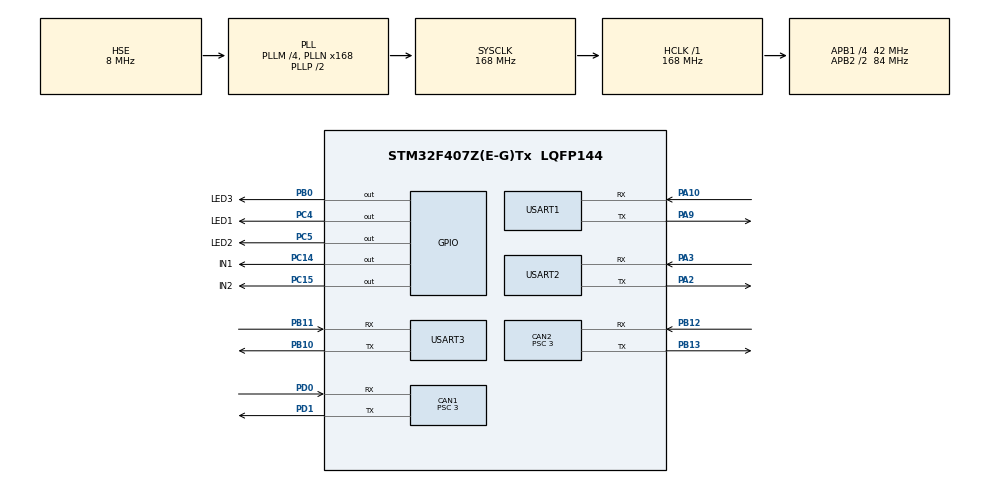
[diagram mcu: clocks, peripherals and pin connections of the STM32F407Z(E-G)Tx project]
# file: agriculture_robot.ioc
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CAN1.ABOM=ENABLE
CAN1.BS1=CAN_BS1_9TQ
CAN1.BS2=CAN_BS2_4TQ
CAN1.CalculateBaudRate=1000000
CAN1.CalculateTimeBit=1000
CAN1.CalculateTimeQuantum=71.42857142857143
CAN1.Prescaler=3
CAN1.TXFP=ENABLE
CAN2.ABOM=ENABLE
CAN2.BS1=CAN_BS1_9TQ
CAN2.BS2=CAN_BS2_4TQ
CAN2.CalculateBaudRate=1000000
CAN2.CalculateTimeBit=1000
CAN2.CalculateTimeQuantum=71.42857142857143
CAN2.Prescaler=3
CAN2.TXFP=ENABLE
Dma.Request0=USART1_RX
Dma.Request1=USART1_TX
Dma.Request2=USART3_RX
Dma.Request3=USART3_TX
Dma.Request4=USART2_RX
Dma.Request5=USART2_TX
Dma.USART1_RX.0.Direction=DMA_PERIPH_TO_MEMORY
Dma.USART1_RX.0.FIFOMode=DMA_FIFOMODE_DISABLE
Dma.USART1_RX.0.Instance=DMA2_Stream2
Dma.USART1_RX.0.MemDataAlignment=DMA_MDATAALIGN_BYTE
Dma.USART1_RX.0.MemInc=DMA_MINC_ENABLE
Dma.USART1_RX.0.Mode=DMA_CIRCULAR
Dma.USART1_RX.0.PeriphDataAlignment=DMA_PDATAALIGN_BYTE
Dma.USART1_RX.0.PeriphInc=DMA_PINC_DISABLE
Dma.USART1_RX.0.Priority=DMA_PRIORITY_LOW
Dma.USART1_TX.1.Direction=DMA_MEMORY_TO_PERIPH
Dma.USART1_TX.1.FIFOMode=DMA_FIFOMODE_DISABLE
Dma.USART1_TX.1.Instance=DMA2_Stream7
Dma.USART1_TX.1.MemDataAlignment=DMA_MDATAALIGN_BYTE
Dma.USART1_TX.1.MemInc=DMA_MINC_ENABLE
Dma.USART1_TX.1.Mode=DMA_NORMAL
Dma.USART1_TX.1.PeriphDataAlignment=DMA_PDATAALIGN_BYTE
Dma.USART1_TX.1.PeriphInc=DMA_PINC_DISABLE
Dma.USART1_TX.1.Priority=DMA_PRIORITY_LOW
Dma.USART2_RX.4.Direction=DMA_PERIPH_TO_MEMORY
Dma.USART2_RX.4.FIFOMode=DMA_FIFOMODE_DISABLE
Dma.USART2_RX.4.Instance=DMA1_Stream5
Dma.USART2_RX.4.MemDataAlignment=DMA_MDATAALIGN_BYTE
Dma.USART2_RX.4.MemInc=DMA_MINC_ENABLE
Dma.USART2_RX.4.Mode=DMA_CIRCULAR
Dma.USART2_RX.4.PeriphDataAlignment=DMA_PDATAALIGN_BYTE
Dma.USART2_RX.4.PeriphInc=DMA_PINC_DISABLE
Dma.USART2_RX.4.Priority=DMA_PRIORITY_LOW
Dma.USART2_TX.5.Direction=DMA_MEMORY_TO_PERIPH
Dma.USART2_TX.5.FIFOMode=DMA_FIFOMODE_DISABLE
Dma.USART2_TX.5.Instance=DMA1_Stream6
Dma.USART2_TX.5.MemDataAlignment=DMA_MDATAALIGN_BYTE
Dma.USART2_TX.5.MemInc=DMA_MINC_ENABLE
Dma.USART2_TX.5.Mode=DMA_NORMAL
Dma.USART2_TX.5.PeriphDataAlignment=DMA_PDATAALIGN_BYTE
Dma.USART2_TX.5.PeriphInc=DMA_PINC_DISABLE
Dma.USART2_TX.5.Priority=DMA_PRIORITY_LOW
Dma.USART3_RX.2.Direction=DMA_PERIPH_TO_MEMORY
Dma.USART3_RX.2.FIFOMode=DMA_FIFOMODE_DISABLE
Dma.USART3_RX.2.Instance=DMA1_Stream1
Dma.USART3_RX.2.MemDataAlignment=DMA_MDATAALIGN_BYTE
Dma.USART3_RX.2.MemInc=DMA_MINC_ENABLE
Dma.USART3_RX.2.Mode=DMA_CIRCULAR
Dma.USART3_RX.2.PeriphDataAlignment=DMA_PDATAALIGN_BYTE
Dma.USART3_RX.2.PeriphInc=DMA_PINC_DISABLE
Dma.USART3_RX.2.Priority=DMA_PRIORITY_LOW
Dma.USART3_TX.3.Direction=DMA_MEMORY_TO_PERIPH
Dma.USART3_TX.3.FIFOMode=DMA_FIFOMODE_DISABLE
Dma.USART3_TX.3.Instance=DMA1_Stream3
Dma.USART3_TX.3.MemDataAlignment=DMA_MDATAALIGN_BYTE
Dma.USART3_TX.3.MemInc=DMA_MINC_ENABLE
Dma.USART3_TX.3.Mode=DMA_NORMAL
Dma.USART3_TX.3.PeriphDataAlignment=DMA_PDATAALIGN_BYTE
Dma.USART3_TX.3.PeriphInc=DMA_PINC_DISABLE
Dma.USART3_TX.3.Priority=DMA_PRIORITY_LOW
FREERTOS.CountingSemaphores01=WaterSema,3,Dynamic,NULL
FREERTOS.Tasks01=defaultTask,24,128,StartDefaultTask,Default,NULL,Dynamic,NULL,NULL;chassisControl,24,128,StartChassisControl,Default,NULL,Dynamic,NULL,NULL;balanceMotorTas,8,128,StartBalance,Default,NULL,Dynamic,NULL,NULL;waterVase,8,128,StartWaterVase,Default,NULL,Dynamic,NULL,NULL
FREERTOS.configUSE_NEWLIB_REENTRANT=1
FREERTOS.configUSE_STATS_FORMATTING_FUNCTIONS=1
Mcu.Family=STM32F4
Mcu.Name=STM32F407Z(E-G)Tx
Mcu.Package=LQFP144
NVIC.CAN1_RX0_IRQn=true\:5\:0\:false\:false\:true\:true\:true\:true\:true
NVIC.CAN1_RX1_IRQn=true\:5\:0\:false\:false\:true\:true\:true\:true\:true
NVIC.CAN1_TX_IRQn=true\:5\:0\:false\:false\:true\:true\:true\:true\:true
NVIC.CAN2_RX0_IRQn=true\:5\:0\:false\:false\:true\:true\:true\:true\:true
NVIC.CAN2_RX1_IRQn=true\:5\:0\:false\:false\:true\:true\:true\:true\:true
NVIC.CAN2_TX_IRQn=true\:5\:0\:false\:false\:true\:true\:true\:true\:true
NVIC.DMA1_Stream1_IRQn=true\:5\:0\:false\:false\:true\:true\:false\:true\:true
NVIC.DMA1_Stream3_IRQn=true\:5\:0\:false\:false\:true\:true\:false\:true\:true
NVIC.DMA1_Stream5_IRQn=true\:5\:0\:false\:false\:true\:true\:false\:true\:true
NVIC.DMA1_Stream6_IRQn=true\:5\:0\:false\:false\:true\:true\:false\:true\:true
NVIC.DMA2_Stream2_IRQn=true\:5\:0\:false\:false\:true\:true\:false\:true\:true
NVIC.DMA2_Stream7_IRQn=true\:5\:0\:false\:false\:true\:true\:false\:true\:true
NVIC.PriorityGroup=NVIC_PRIORITYGROUP_4
NVIC.TIM1_UP_TIM10_IRQn=true\:15\:0\:false\:false\:true\:false\:false\:true\:true
NVIC.TimeBase=TIM1_UP_TIM10_IRQn
NVIC.TimeBaseIP=TIM1
NVIC.USART1_IRQn=true\:5\:0\:false\:false\:true\:true\:true\:true\:true
NVIC.USART2_IRQn=true\:5\:0\:false\:false\:true\:true\:true\:true\:true
NVIC.USART3_IRQn=true\:5\:0\:false\:false\:true\:true\:true\:true\:true
PA10.Mode=Asynchronous
PA10.Signal=USART1_RX
PA13.Mode=Serial_Wire
PA13.Signal=SYS_JTMS-SWDIO
PA14.Mode=Serial_Wire
PA14.Signal=SYS_JTCK-SWCLK
PA2.Mode=Asynchronous
PA2.Signal=USART2_TX
PA3.Mode=Asynchronous
PA3.Signal=USART2_RX
PA9.Mode=Asynchronous
PA9.Signal=USART1_TX
PB0.GPIO_Label=LED3
PB0.Signal=GPIO_Output
PB10.Mode=Asynchronous
PB10.Signal=USART3_TX
PB11.Mode=Asynchronous
PB11.Signal=USART3_RX
PB12.Mode=CAN_Activate
PB12.Signal=CAN2_RX
PB13.Mode=CAN_Activate
PB13.Signal=CAN2_TX
PC14-OSC32_IN.GPIO_Label=IN1
PC14-OSC32_IN.Signal=GPIO_Output
PC15-OSC32_OUT.GPIO_Label=IN2
PC15-OSC32_OUT.Signal=GPIO_Output
PC4.GPIO_Label=LED1
PC4.Signal=GPIO_Output
PC5.GPIO_Label=LED2
PC5.Signal=GPIO_Output
PD0.Mode=CAN_Activate
PD0.Signal=CAN1_RX
PD1.Mode=CAN_Activate
PD1.Signal=CAN1_TX
PH0-OSC_IN.Mode=HSE-External-Oscillator
PH0-OSC_IN.Signal=RCC_OSC_IN
PH1-OSC_OUT.Mode=HSE-External-Oscillator
PH1-OSC_OUT.Signal=RCC_OSC_OUT
ProjectManager.HeapSize=0x200
ProjectManager.StackSize=0x400
ProjectManager.TargetToolchain=STM32CubeIDE
RCC.48MHZClocksFreq_Value=84000000
RCC.AHBFreq_Value=168000000
RCC.APB1CLKDivider=RCC_HCLK_DIV4
RCC.APB1Freq_Value=42000000
RCC.APB1TimFreq_Value=84000000
RCC.APB2CLKDivider=RCC_HCLK_DIV2
RCC.APB2Freq_Value=84000000
RCC.APB2TimFreq_Value=168000000
RCC.CortexFreq_Value=168000000
RCC.HCLKFreq_Value=168000000
RCC.HSE_VALUE=8000000
RCC.HSI_VALUE=16000000
RCC.LSE_VALUE=32768
RCC.PLLM=4
RCC.PLLN=168
RCC.PLLSourceVirtual=RCC_PLLSOURCE_HSE
RCC.SYSCLKFreq_VALUE=168000000
RCC.SYSCLKSource=RCC_SYSCLKSOURCE_PLLCLK
RCC.VCOOutputFreq_Value=336000000
USART1.VirtualMode=VM_ASYNC
USART2.VirtualMode=VM_ASYNC
USART3.VirtualMode=VM_ASYNC
VP_FREERTOS_VS_CMSIS_V2.Mode=CMSIS_V2
VP_SYS_VS_tim1.Mode=TIM1
board=custom

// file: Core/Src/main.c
/* USER CODE BEGIN Header */
/**
  ******************************************************************************
  * @file           : main.c
  * @brief          : Main program body
  ******************************************************************************
  * @attention
  *
  * Copyright (c) 2023 STMicroelectronics.
  * All rights reserved.
  *
  * This software is licensed under terms that can be found in the LICENSE file
  * in the root directory of this software component.
  * If no LICENSE file comes with this software, it is provided AS-IS.
  *
  ******************************************************************************
  */
#ifdef __cplusplus
extern "C"{
#endif
/* USER CODE END Header */
#include "main.h"
#include "cmsis_os.h"
#include "can.h"
#include "dma.h"
#include "usart.h"
#include "gpio.h"

/* USER CODE BEGIN Includes */
#ifdef __cplusplus
}
#endif

/* USER CODE END Includes */

/* USER CODE BEGIN PV */
#ifdef __cplusplus
extern "C"{
#endif
/* USER CODE END PV */

void SystemClock_Config(void);
void MX_FREERTOS_Init(void);
/* USER CODE BEGIN PFP */
#ifdef __cplusplus
}
#endif
/* USER CODE END PFP */

int main(void)
{

  /* MCU Configuration--------------------------------------------------------*/

  /* Reset of all peripherals, Initializes the Flash interface and the Systick. */
  HAL_Init();

  /* Configure the system clock */
  SystemClock_Config();

  /* Initialize all configured peripherals */
  MX_GPIO_Init();
  MX_DMA_Init();
  MX_USART1_UART_Init();
  MX_CAN1_Init();
  MX_USART3_UART_Init();
  MX_USART2_UART_Init();
  MX_CAN2_Init();

  /* Init scheduler */
  osKernelInitialize();  /* Call init function for freertos objects (in freertos.c) */
  MX_FREERTOS_Init();

  /* Start scheduler */
  osKernelStart();
  /* We should never get here as control is now taken by the scheduler */
  /* Infinite loop */
  while (1)
  {

  }
}

void SystemClock_Config(void)
{
  RCC_OscInitTypeDef RCC_OscInitStruct = {0};
  RCC_ClkInitTypeDef RCC_ClkInitStruct = {0};

  /** Configure the main internal regulator output voltage
  */
  __HAL_RCC_PWR_CLK_ENABLE();
  __HAL_PWR_VOLTAGESCALING_CONFIG(PWR_REGULATOR_VOLTAGE_SCALE1);

  /** Initializes the RCC Oscillators according to the specified parameters
  * in the RCC_OscInitTypeDef structure.
  */
  RCC_OscInitStruct.OscillatorType = RCC_OSCILLATORTYPE_HSE;
  RCC_OscInitStruct.HSEState = RCC_HSE_ON;
  RCC_OscInitStruct.PLL.PLLState = RCC_PLL_ON;
  RCC_OscInitStruct.PLL.PLLSource = RCC_PLLSOURCE_HSE;
  RCC_OscInitStruct.PLL.PLLM = 4;
  RCC_OscInitStruct.PLL.PLLN = 168;
  RCC_OscInitStruct.PLL.PLLP = RCC_PLLP_DIV2;
  RCC_OscInitStruct.PLL.PLLQ = 4;
  if (HAL_RCC_OscConfig(&RCC_OscInitStruct) != HAL_OK)
  {
    Error_Handler();
  }

  /** Initializes the CPU, AHB and APB buses clocks
  */
  RCC_ClkInitStruct.ClockType = RCC_CLOCKTYPE_HCLK|RCC_CLOCKTYPE_SYSCLK
                              |RCC_CLOCKTYPE_PCLK1|RCC_CLOCKTYPE_PCLK2;
  RCC_ClkInitStruct.SYSCLKSource = RCC_SYSCLKSOURCE_PLLCLK;
  RCC_ClkInitStruct.AHBCLKDivider = RCC_SYSCLK_DIV1;
  RCC_ClkInitStruct.APB1CLKDivider = RCC_HCLK_DIV4;
  RCC_ClkInitStruct.APB2CLKDivider = RCC_HCLK_DIV2;

  if (HAL_RCC_ClockConfig(&RCC_ClkInitStruct, FLASH_LATENCY_5) != HAL_OK)
  {
    Error_Handler();
  }
}

void HAL_TIM_PeriodElapsedCallback(TIM_HandleTypeDef *htim)
{
  /* USER CODE BEGIN Callback 0 */
  static int cnt=0;
  /* USER CODE END Callback 0 */
  if (htim->Instance == TIM1) {
    HAL_IncTick();
  }
}

void Error_Handler(void)
{
  __disable_irq();
  while (1)
  {
  }
}

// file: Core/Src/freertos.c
/* USER CODE BEGIN Header */
/**
  ******************************************************************************
  * File Name          : freertos.c
  * Description        : Code for freertos applications
  ******************************************************************************
  * @attention
  *
  * Copyright (c) 2023 STMicroelectronics.
  * All rights reserved.
  *
  * This software is licensed under terms that can be found in the LICENSE file
  * in the root directory of this software component.
  * If no LICENSE file comes with this software, it is provided AS-IS.
  *
  ******************************************************************************
  */
#ifdef __cplusplus
extern "C"{
#endif
/* USER CODE END Header */

#include "FreeRTOS.h"
#include "task.h"
#include "main.h"
#include "cmsis_os.h"

/* USER CODE BEGIN Includes */
#ifdef __cplusplus
}
#endif
#define LOG_TAG    "defTask"
#ifdef __cplusplus
extern "C"{
#endif

#include "oslib.h"
#include <stdint.h>
#include "MotorLib/dji_boardv2_can.h"

#ifdef __cplusplus
}
#endif

#include <cstring>
#include "chassis.h"

/* USER CODE END Includes */

/* USER CODE BEGIN Variables */
chassis myChassis;
/* USER CODE END Variables */
/* Definitions for defaultTask */
osThreadId_t defaultTaskHandle;
const osThreadAttr_t defaultTask_attributes = {
  .name = "defaultTask",
  .stack_size = 128 * 4,
  .priority = (osPriority_t) osPriorityNormal,
};
/* Definitions for chassisControl */
osThreadId_t chassisControlHandle;
const osThreadAttr_t chassisControl_attributes = {
  .name = "chassisControl",
  .stack_size = 128 * 4,
  .priority = (osPriority_t) osPriorityNormal,
};
/* Definitions for balanceMotorTas */
osThreadId_t balanceMotorTasHandle;
const osThreadAttr_t balanceMotorTas_attributes = {
  .name = "balanceMotorTas",
  .stack_size = 128 * 4,
  .priority = (osPriority_t) osPriorityLow,
};
/* Definitions for waterVase */
osThreadId_t waterVaseHandle;
const osThreadAttr_t waterVase_attributes = {
  .name = "waterVase",
  .stack_size = 128 * 4,
  .priority = (osPriority_t) osPriorityLow,
};
/* Definitions for WaterSema */
osSemaphoreId_t WaterSemaHandle;
const osSemaphoreAttr_t WaterSema_attributes = {
  .name = "WaterSema"
};

/* USER CODE BEGIN FunctionPrototypes */
#ifdef __cplusplus
extern "C"{
#endif
/* USER CODE END FunctionPrototypes */

void StartDefaultTask(void *argument);
void StartChassisControl(void *argument);
void StartBalance(void *argument);
void StartWaterVase(void *argument);

void MX_FREERTOS_Init(void); /* (MISRA C 2004 rule 8.1) */

void MX_FREERTOS_Init(void) {
  /* USER CODE BEGIN Init */
    OSLIB_Init();
  /* USER CODE END Init */

  /* Create the semaphores(s) */
  /* creation of WaterSema */
  WaterSemaHandle = osSemaphoreNew(3, 3, &WaterSema_attributes);

  /* Create the thread(s) */
  /* creation of defaultTask */
  defaultTaskHandle = osThreadNew(StartDefaultTask, NULL, &defaultTask_attributes);

  /* creation of chassisControl */
  chassisControlHandle = osThreadNew(StartChassisControl, NULL, &chassisControl_attributes);

  /* creation of balanceMotorTas */
  balanceMotorTasHandle = osThreadNew(StartBalance, NULL, &balanceMotorTas_attributes);

  /* creation of waterVase */
  waterVaseHandle = osThreadNew(StartWaterVase, NULL, &waterVase_attributes);

}

void StartDefaultTask(void *argument)
{
  /* USER CODE BEGIN StartDefaultTask */
  /* Infinite loop */
  for(;;)
  {
      HAL_GPIO_TogglePin(LED1_GPIO_Port,LED1_Pin);
      osDelay(500);
  }
  /* USER CODE END StartDefaultTask */
}

void StartChassisControl(void *argument)
{
  /* USER CODE BEGIN StartChassisControl */
  osDelay(1000);
  myChassis.chassis_init(&hcan2);
  OSLIB_UART_Handle_t *uart_handle= OSLIB_UART_Handle_Get(&huart2);
  /* Infinite loop */
  for(;;)
  {
    osSemaphoreAcquire(uart_handle->rx.dma.rx_sema,osWaitForever);
    SerialVelMsgTypeDef msg;
    msg.raw_msg[0]=0,msg.raw_msg[5]=0;
    memcpy(msg.ui8,uart_handle->rx.dma.rx_task_buffer,uart_handle->rx.dma.rx_buffer_len);
    if (msg.raw_msg[1]!=0)
    {
        for (int i=0;i<msg.raw_msg[1];i++)
        {
            osSemaphoreRelease(WaterSemaHandle);
            osDelay(1);
        }
    }
    myChassis.chassis_move(&hcan2,msg);
    osDelay(1);
  }
  /* USER CODE END StartChassisControl */
}

void StartBalance(void *argument)
{
  for(;;)
  {
    osDelay(1);
  }
}

void StartWaterVase(void *argument)
{
  /* USER CODE BEGIN StartWaterVase */
  /* Infinite loop */
  for(;;)
  {
      osSemaphoreAcquire(WaterSemaHandle,osWaitForever);
      HAL_GPIO_WritePin(IN1_GPIO_Port,IN1_Pin,GPIO_PIN_SET);
      HAL_GPIO_WritePin(IN2_GPIO_Port,IN2_Pin,GPIO_PIN_SET);
      osDelay(500);
      HAL_GPIO_WritePin(IN1_GPIO_Port,IN1_Pin,GPIO_PIN_RESET);
      HAL_GPIO_WritePin(IN2_GPIO_Port,IN2_Pin,GPIO_PIN_RESET);
      osDelay(350);
  }
  /* USER CODE END StartWaterVase */
}

/* USER CODE BEGIN Application */
#ifdef __cplusplus
}
#endif
/* USER CODE END Application */
